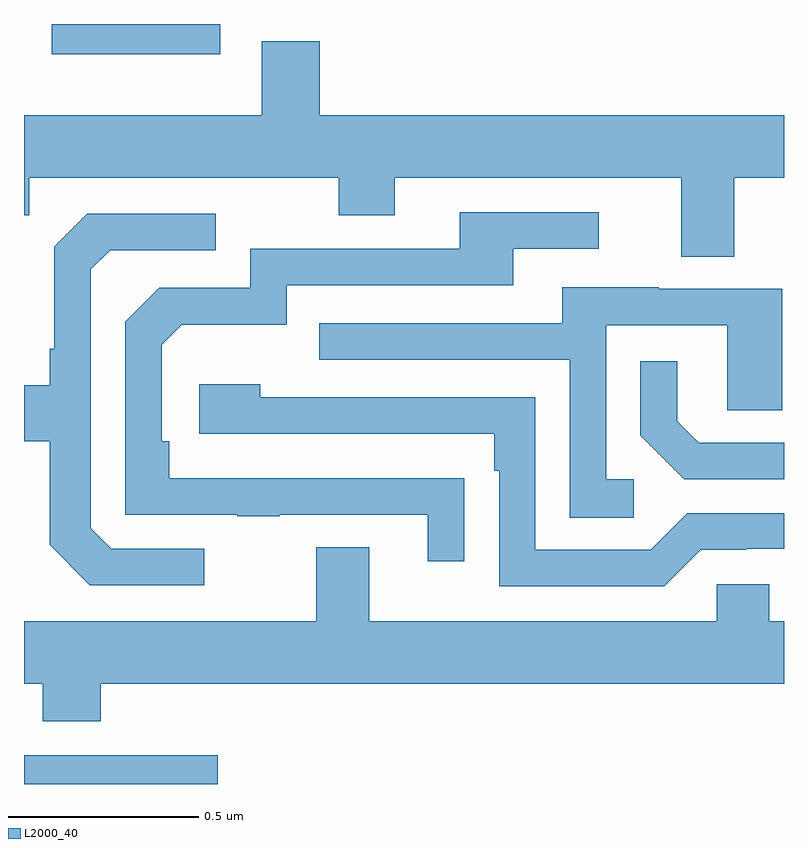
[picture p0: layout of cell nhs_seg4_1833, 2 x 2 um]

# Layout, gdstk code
import gdstk
lib = gdstk.Library(unit=1e-6, precision=1e-09)
def R(c, l, rs):  # rectangles x0, y0, x1, y1
    for r in rs: c.add(gdstk.rectangle(r[:2], r[2:], *l))
def P(c, l, *ps):  # polygons
    for p in ps: c.add(gdstk.Polygon(p, *l))
L2000_40 = (2000, 40)

nhs_seg4_1833 = lib.new_cell('nhs_seg4_1833')
R(nhs_seg4_1833, L2000_40, [(133,785.9,133.51,785.976), (133.073,787.82,133.516,787.9)])
P(nhs_seg4_1833, L2000_40, [(134.869,787.496),(135,787.496),(135,787.66),(133.778,787.66),(133.778,787.855),(133.625,787.855),(133.625,787.66),(133,787.66),(133,787.397),(133.014,787.397),(133.014,787.496),(133.828,787.496),(133.828,787.397),(133.975,787.397),(133.975,787.496),(134.729,787.496),(134.729,787.288),(134.869,787.288)],
  [(134.159,786.704),(134.057,786.704),(134.057,786.705),(133.382,786.705),(133.382,786.802),(133.362,786.802),(133.362,787.056),(133.415,787.109),(133.692,787.109),(133.692,787.212),(134.287,787.212),(134.287,787.308),(134.512,787.308),(134.512,787.404),(134.147,787.404),(134.147,787.308),(133.596,787.308),(133.596,787.206),(133.356,787.206),(133.266,787.116),(133.266,786.609),(133.561,786.609),(133.561,786.604),(133.673,786.604),(133.673,786.609),(134.063,786.609),(134.063,786.486),(134.159,786.486)],
  [(133.474,786.519),(133.23,786.519),(133.176,786.573),(133.176,787.254),(133.227,787.305),(133.504,787.305),(133.504,787.401),(133.167,787.401),(133.08,787.314),(133.08,787.045),(133.068,787.045),(133.068,786.949),(133,786.949),(133,786.802),(133.068,786.802),(133.068,786.529),(133.173,786.423),(133.474,786.423)],
  [(134.605,786.702),(134.532,786.702),(134.532,787.107),(134.85,787.107),(134.85,786.883),(134.995,786.883),(134.995,787.203),(134.671,787.203),(134.671,787.207),(134.417,787.207),(134.417,787.113),(133.777,787.113),(133.777,787.017),(134.436,787.017),(134.436,786.601),(134.605,786.601)],
  [(135,786.798),(134.776,786.798),(134.719,786.855),(134.719,787.012),(134.622,787.012),(134.622,786.818),(134.738,786.702),(135,786.702)],
  [(134.781,786.516),(134.9,786.516),(134.9,786.519),(135,786.519),(135,786.612),(134.745,786.612),(134.649,786.516),(134.346,786.516),(134.346,786.918),(133.622,786.918),(133.622,786.952),(133.461,786.952),(133.461,786.822),(134.237,786.822),(134.237,786.725),(134.25,786.725),(134.25,786.42),(134.685,786.42)],
  [(133.202,786.164),(135,786.164),(135,786.328),(134.961,786.328),(134.961,786.426),(134.823,786.426),(134.823,786.328),(133.909,786.328),(133.909,786.523),(133.769,786.523),(133.769,786.328),(133,786.328),(133,786.164),(133.049,786.164),(133.049,786.065),(133.202,786.065)])

lib.write_gds('nhs_seg4_1833.gds')
